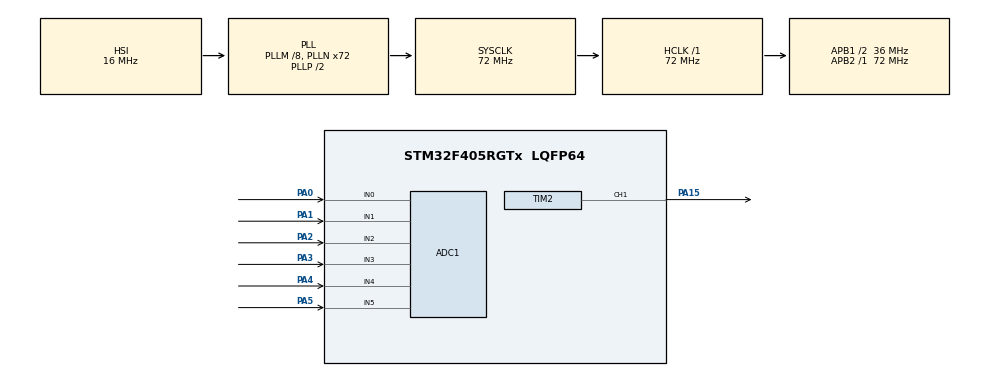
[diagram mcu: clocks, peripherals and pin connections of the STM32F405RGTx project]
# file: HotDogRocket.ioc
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ADC1.Channel-0\#ChannelRegularConversion=ADC_CHANNEL_0
ADC1.Channel-1\#ChannelRegularConversion=ADC_CHANNEL_1
ADC1.Channel-2\#ChannelRegularConversion=ADC_CHANNEL_2
ADC1.Channel-3\#ChannelRegularConversion=ADC_CHANNEL_3
ADC1.Channel-4\#ChannelRegularConversion=ADC_CHANNEL_4
ADC1.ContinuousConvMode=DISABLE
ADC1.ExternalTrigConv=ADC_EXTERNALTRIGCONV_T8_TRGO
ADC1.NbrOfConversion=5
ADC1.NbrOfConversionFlag=1
ADC1.Rank-0\#ChannelRegularConversion=1
ADC1.Rank-1\#ChannelRegularConversion=2
ADC1.Rank-2\#ChannelRegularConversion=3
ADC1.Rank-3\#ChannelRegularConversion=4
ADC1.Rank-4\#ChannelRegularConversion=5
ADC1.SamplingTime-0\#ChannelRegularConversion=ADC_SAMPLETIME_3CYCLES
ADC1.SamplingTime-1\#ChannelRegularConversion=ADC_SAMPLETIME_3CYCLES
ADC1.SamplingTime-2\#ChannelRegularConversion=ADC_SAMPLETIME_3CYCLES
ADC1.SamplingTime-3\#ChannelRegularConversion=ADC_SAMPLETIME_3CYCLES
ADC1.SamplingTime-4\#ChannelRegularConversion=ADC_SAMPLETIME_3CYCLES
ADC1.ScanConvMode=ENABLE
ADC1.master=1
FATFS._MAX_SS=4096
FATFS._USE_LFN=1
Mcu.Family=STM32F4
Mcu.Name=STM32F405RGTx
Mcu.Package=LQFP64
NVIC.ADC_IRQn=true\:0\:0\:false\:false\:true\:true\:true\:true
NVIC.PriorityGroup=NVIC_PRIORITYGROUP_4
NVIC.TIM2_IRQn=true\:0\:0\:false\:false\:true\:true\:true\:true
NVIC.TIM3_IRQn=true\:0\:0\:false\:false\:true\:true\:true\:true
NVIC.TIM4_IRQn=true\:0\:0\:false\:false\:true\:true\:true\:true
NVIC.TIM5_IRQn=true\:0\:0\:false\:false\:true\:true\:true\:true
PA0-WKUP.Signal=ADCx_IN0
PA1.Signal=ADCx_IN1
PA15.Signal=S_TIM2_CH1_ETR
PA2.Signal=ADCx_IN2
PA3.Signal=ADCx_IN3
PA4.Signal=ADCx_IN4
PA5.Signal=ADCx_IN5
ProjectManager.HeapSize=0x200
ProjectManager.StackSize=0x400
ProjectManager.TargetToolchain=CMake
RCC.48MHZClocksFreq_Value=36000000
RCC.AHBFreq_Value=72000000
RCC.APB1CLKDivider=RCC_HCLK_DIV2
RCC.APB1Freq_Value=36000000
RCC.APB1TimFreq_Value=72000000
RCC.APB2Freq_Value=72000000
RCC.APB2TimFreq_Value=72000000
RCC.CortexFreq_Value=72000000
RCC.HCLKFreq_Value=72000000
RCC.HSE_VALUE=25000000
RCC.HSI_VALUE=16000000
RCC.LSE_VALUE=32768
RCC.PLLM=8
RCC.PLLN=72
RCC.SYSCLKFreq_VALUE=72000000
RCC.SYSCLKSource=RCC_SYSCLKSOURCE_PLLCLK
RCC.VCOOutputFreq_Value=144000000
SH.ADCx_IN0.0=ADC1_IN0,IN0
SH.ADCx_IN1.0=ADC1_IN1,IN1
SH.ADCx_IN2.0=ADC1_IN2,IN2
SH.ADCx_IN3.0=ADC1_IN3,IN3
SH.ADCx_IN4.0=ADC1_IN4,IN4
SH.ADCx_IN5.0=ADC1_IN5,IN5
SH.S_TIM2_CH1_ETR.0=TIM2_CH1,PWM Generation1 CH1
TIM2.Channel-PWM\ Generation1\ CH1=TIM_CHANNEL_1
TIM3.Period=65358
TIM3.Prescaler=11015
TIM4.Period=65358
TIM4.Prescaler=22031
TIM5.Period=49999
TIM5.Prescaler=143
TIM8.Period=49999
TIM8.Prescaler=143
VP_FATFS_VS_Generic.Mode=User_defined
VP_TIM2_VS_ClockSourceINT.Mode=Internal
VP_TIM3_VS_ClockSourceINT.Mode=Internal
VP_TIM4_VS_ClockSourceINT.Mode=Internal
VP_TIM5_VS_ClockSourceINT.Mode=Internal
VP_TIM8_VS_ClockSourceITR.Mode=TriggerSource_ITR0
VP_TIM8_VS_ControllerModeTrigger.Mode=Trigger Mode
board=custom

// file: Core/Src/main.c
/* USER CODE BEGIN Header */
/**
  ******************************************************************************
  * @file           : main.c
  * @brief          : Main program body
  ******************************************************************************
  * @attention
  *
  * Copyright (c) 2025 STMicroelectronics.
  * All rights reserved.
  *
  * This software is licensed under terms that can be found in the LICENSE file
  * in the root directory of this software component.
  * If no LICENSE file comes with this software, it is provided AS-IS.
  *
  ******************************************************************************
  */
/* USER CODE END Header */
#include "main.h"
#include "adc.h"
#include "fatfs.h"
#include "tim.h"
#include "gpio.h"

/* USER CODE BEGIN Includes */
#include "stdbool.h"
#include "definitions.h"
#include "algorithm.h"

/* USER CODE END Includes */

/* USER CODE BEGIN PV */
char status_flight = WAITING;
bool isActivRS = false; // СС сработала?
// bool canActivRS = true; // Можно активировать СС?

/* USER CODE END PV */

void SystemClock_Config(void);

int main(void)
{

  /* MCU Configuration--------------------------------------------------------*/

  /* Reset of all peripherals, Initializes the Flash interface and the Systick. */
  HAL_Init();

  /* Configure the system clock */
  SystemClock_Config();

  /* Initialize all configured peripherals */
  MX_GPIO_Init();
  MX_FATFS_Init();
  MX_TIM3_Init();
  MX_TIM4_Init();
  MX_TIM5_Init();
  MX_TIM2_Init();
  MX_ADC1_Init();
  MX_TIM8_Init();
  /* USER CODE BEGIN 2 */
  HAL_TIM_Base_Start_IT(&htim5);
  HAL_TIM_PWM_Start(&htim2, TIM_CHANNEL_1);

  HAL_ADC_Start_IT(&hadc1);

  /* USER CODE END 2 */

  /* Infinite loop */
  /* USER CODE BEGIN WHILE */
  while (1)
  {
    // if (status_flight == WAITING) {

    // }

    if (status_flight == FLIGHT) {
      checkApogee();
    }

    if (status_flight == APOGEE) {
      for (char i = 0; i < 4; i++) {
        activRS();
        HAL_Delay(350);

        if (checkRS() == true) { isActivRS = true; break; }
      }

      if (isActivRS || !isActivRS) {
        status_flight = LANDING;
      }
    }

    // if (status_flight == LANDING) {

    // }

    if (status_flight == GROUND) {
      sleepMode();
      break;
    }

    /* USER CODE END WHILE */

  }
}

void SystemClock_Config(void)
{
  RCC_OscInitTypeDef RCC_OscInitStruct = {0};
  RCC_ClkInitTypeDef RCC_ClkInitStruct = {0};

  /** Configure the main internal regulator output voltage
  */
  __HAL_RCC_PWR_CLK_ENABLE();
  __HAL_PWR_VOLTAGESCALING_CONFIG(PWR_REGULATOR_VOLTAGE_SCALE1);

  /** Initializes the RCC Oscillators according to the specified parameters
  * in the RCC_OscInitTypeDef structure.
  */
  RCC_OscInitStruct.OscillatorType = RCC_OSCILLATORTYPE_HSI;
  RCC_OscInitStruct.HSIState = RCC_HSI_ON;
  RCC_OscInitStruct.HSICalibrationValue = RCC_HSICALIBRATION_DEFAULT;
  RCC_OscInitStruct.PLL.PLLState = RCC_PLL_ON;
  RCC_OscInitStruct.PLL.PLLSource = RCC_PLLSOURCE_HSI;
  RCC_OscInitStruct.PLL.PLLM = 8;
  RCC_OscInitStruct.PLL.PLLN = 72;
  RCC_OscInitStruct.PLL.PLLP = RCC_PLLP_DIV2;
  RCC_OscInitStruct.PLL.PLLQ = 4;
  if (HAL_RCC_OscConfig(&RCC_OscInitStruct) != HAL_OK)
  {
    Error_Handler();
  }

  /** Initializes the CPU, AHB and APB buses clocks
  */
  RCC_ClkInitStruct.ClockType = RCC_CLOCKTYPE_HCLK|RCC_CLOCKTYPE_SYSCLK
                              |RCC_CLOCKTYPE_PCLK1|RCC_CLOCKTYPE_PCLK2;
  RCC_ClkInitStruct.SYSCLKSource = RCC_SYSCLKSOURCE_PLLCLK;
  RCC_ClkInitStruct.AHBCLKDivider = RCC_SYSCLK_DIV1;
  RCC_ClkInitStruct.APB1CLKDivider = RCC_HCLK_DIV2;
  RCC_ClkInitStruct.APB2CLKDivider = RCC_HCLK_DIV1;

  if (HAL_RCC_ClockConfig(&RCC_ClkInitStruct, FLASH_LATENCY_2) != HAL_OK)
  {
    Error_Handler();
  }
}

void Error_Handler(void)
{
  __disable_irq();
  while (1)
  {
  }
}
